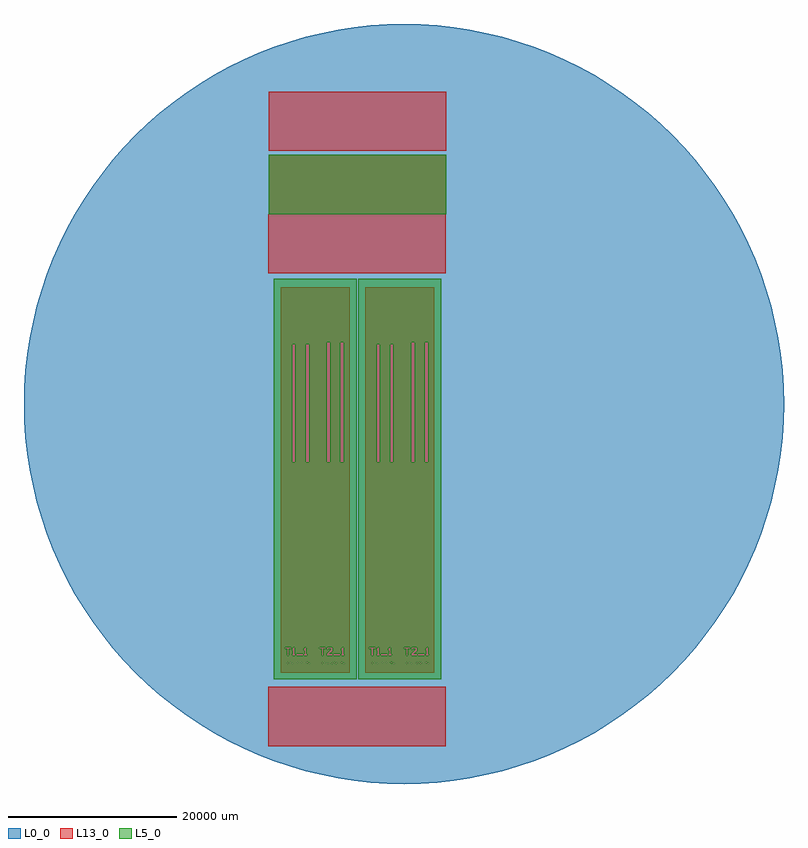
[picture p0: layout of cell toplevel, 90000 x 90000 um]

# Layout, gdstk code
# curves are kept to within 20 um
import gdstk
lib = gdstk.Library(unit=1e-6, precision=1e-09)
def R(c, l, rs):  # rectangles x0, y0, x1, y1
    for r in rs: c.add(gdstk.rectangle(r[:2], r[2:], *l))
def P(c, l, *ps):  # polygons
    for p in ps: c.add(gdstk.Polygon(p, *l))
L0_0 = (0, 0)
L5_0 = (5, 0)
L13_0 = (13, 0)

circle = lib.new_cell('circle')
P(circle, L0_0, [(45000,0),(44957.17,1962.872),(44828.761,3922.008),(44615.019,5873.679),(44316.349,7814.168),(43933.32,9739.783),(43466.662,11646.857),(42917.263,13531.761),(42286.168,15390.906),(41574.579,17220.754),(40783.85,19017.822),(39915.487,20778.688),(38971.143,22500),(37952.615,24178.482),(36861.842,25810.94),(35700.9,27394.264),(34472,28925.442),(33177.48,30401.559),(31819.805,31819.805),(30401.559,33177.48),(28925.442,34472),(27394.264,35700.9),(25810.94,36861.842),(24178.482,37952.615),(22500,38971.143),(20778.688,39915.487),(19017.822,40783.85),(17220.754,41574.579),(15390.906,42286.168),(13531.761,42917.263),(11646.857,43466.662),(9739.783,43933.32),(7814.168,44316.349),(5873.679,44615.019),(3922.008,44828.761),(1962.872,44957.17),(0,45000),(-1962.872,44957.17),(-3922.008,44828.761),(-5873.679,44615.019),(-7814.168,44316.349),(-9739.783,43933.32),(-11646.857,43466.662),(-13531.761,42917.263),(-15390.906,42286.168),(-17220.754,41574.579),(-19017.822,40783.85),(-20778.688,39915.487),(-22500,38971.143),(-24178.482,37952.615),(-25810.94,36861.842),(-27394.264,35700.9),(-28925.442,34472),(-30401.559,33177.48),(-31819.805,31819.805),(-33177.48,30401.559),(-34472,28925.442),(-35700.9,27394.264),(-36861.842,25810.94),(-37952.615,24178.482),(-38971.143,22500),(-39915.487,20778.688),(-40783.85,19017.822),(-41574.579,17220.754),(-42286.168,15390.906),(-42917.263,13531.761),(-43466.662,11646.857),(-43933.32,9739.783),(-44316.349,7814.168),(-44615.019,5873.679),(-44828.761,3922.008),(-44957.17,1962.872),(-45000,0),(-44957.17,-1962.872),(-44828.761,-3922.008),(-44615.019,-5873.679),(-44316.349,-7814.168),(-43933.32,-9739.783),(-43466.662,-11646.857),(-42917.263,-13531.761),(-42286.168,-15390.906),(-41574.579,-17220.754),(-40783.85,-19017.822),(-39915.487,-20778.688),(-38971.143,-22500),(-37952.615,-24178.482),(-36861.842,-25810.94),(-35700.9,-27394.264),(-34472,-28925.442),(-33177.48,-30401.559),(-31819.805,-31819.805),(-30401.559,-33177.48),(-28925.442,-34472),(-27394.264,-35700.9),(-25810.94,-36861.842),(-24178.482,-37952.615),(-22500,-38971.143),(-20778.688,-39915.487),(-19017.822,-40783.85),(-17220.754,-41574.579),(-15390.906,-42286.168),(-13531.761,-42917.263),(-11646.857,-43466.662),(-9739.783,-43933.32),(-7814.168,-44316.349),(-5873.679,-44615.019),(-3922.008,-44828.761),(-1962.872,-44957.17),(0,-45000),(1962.872,-44957.17),(3922.008,-44828.761),(5873.679,-44615.019),(7814.168,-44316.349),(9739.783,-43933.32),(11646.857,-43466.662),(13531.761,-42917.263),(15390.906,-42286.168),(17220.754,-41574.579),(19017.822,-40783.85),(20778.688,-39915.487),(22500,-38971.143),(24178.482,-37952.615),(25810.94,-36861.842),(27394.264,-35700.9),(28925.442,-34472),(30401.559,-33177.48),(31819.805,-31819.805),(33177.48,-30401.559),(34472,-28925.442),(35700.9,-27394.264),(36861.842,-25810.94),(37952.615,-24178.482),(38971.143,-22500),(39915.487,-20778.688),(40783.85,-19017.822),(41574.579,-17220.754),(42286.168,-15390.906),(42917.263,-13531.761),(43466.662,-11646.857),(43933.32,-9739.783),(44316.349,-7814.168),(44615.019,-5873.679),(44828.761,-3922.008),(44957.17,-1962.872)])

extract = lib.new_cell('extract')
P(extract, L5_0, [(-5436.512,-32592.964),(-5436.512,-30590),(-3700,-30590),(-3730,-30695),(-3760,-30590),(-3820,-30590),(-3760,-30800),(-3700,-30800),(-3640,-30590),(-5436.512,-30590),(-5436.512,-30500),(-3580,-30500),(-3610,-30590),(-3550,-30590),(-3550,-30560),(-3460,-30560),(-3460,-30590),(-3610,-30740),(-3610,-30800),(-3400,-30800),(-3400,-30740),(-3520,-30740),(-3400,-30620),(-3400,-30530),(-3430,-30500),(-3160,-30500),(-3220,-30560),(-3220,-30740),(-3160,-30800),(-3130,-30740),(-3160,-30710),(-3160,-30590),(-3106,-30560),(-3091,-30500),(-3055,-30500),(-3040,-30710),(-3094,-30740),(-3109,-30800),(-3040,-30800),(-2980,-30740),(-2980,-30560),(-3040,-30500),(-2830,-30500),(-2830,-30560),(-2800,-30560),(-2800,-30620),(-2890,-30620),(-2860,-30500),(-2950,-30530),(-2950,-30620),(-2920,-30650),(-2950,-30680),(-2950,-30770),(-2920,-30800),(-2860,-30800),(-2890,-30680),(-2800,-30680),(-2830,-30800),(-2740,-30770),(-2740,-30680),(-2770,-30650),(-2740,-30620),(-2740,-30530),(-2770,-30500),(-2680,-30500),(-2710,-30590),(-2560,-30560),(-2710,-30740),(-2710,-30800),(-2500,-30800),(-2500,-30740),(-2620,-30740),(-2500,-30620),(-2500,-30530),(-2530,-30500),(-2470,-30500),(-2470,-30560),(-2332,-30560),(-2380,-30800),(-2320,-30800),(-2260,-30500),(-2200,-30500),(-2230,-30590),(-2080,-30560),(-2230,-30740),(-2230,-30800),(-2020,-30800),(-2020,-30740),(-2140,-30740),(-2020,-30620),(-2020,-30530),(-2050,-30500),(-1990,-30500),(-1990,-30650),(-1960,-30680),(-1840,-30680),(-1840,-30740),(-1990,-30710),(-1960,-30800),(-1810,-30800),(-1780,-30770),(-1780,-30650),(-1810,-30620),(-1930,-30620),(-1930,-30560),(-1780,-30560),(-1780,-30500),(-1420,-30500),(-1480,-30590),(-1540,-30500),(-1600,-30500),(-1600,-30800),(-1540,-30800),(-1540,-30620),(-1480,-30710),(-1420,-30620),(-1420,-30800),(-1360,-30800),(-1360,-30500),(-1270,-30500),(-1330,-30560),(-1330,-30740),(-1270,-30800),(-1180,-30800),(-1120,-30740),(-1120,-30680),(-1180,-30680),(-1210,-30740),(-1270,-30710),(-1270,-30590),(-1240,-30560),(-1210,-30560),(-1180,-30620),(-1120,-30620),(-1120,-30590),(400,-30590),(370,-30695),(340,-30590),(280,-30590),(340,-30800),(400,-30800),(460,-30590),(-1120,-30590),(-1180,-30500),(520,-30500),(490,-30590),(550,-30590),(550,-30560),(640,-30560),(640,-30590),(490,-30740),(490,-30800),(700,-30800),(700,-30740),(580,-30740),(700,-30620),(700,-30530),(670,-30500),(940,-30500),(880,-30560),(880,-30740),(940,-30800),(970,-30740),(940,-30710),(940,-30590),(994,-30560),(1009,-30500),(1045,-30500),(1060,-30710),(1006,-30740),(991,-30800),(1060,-30800),(1120,-30740),(1120,-30560),(1060,-30500),(1270,-30500),(1270,-30560),(1300,-30560),(1300,-30620),(1210,-30620),(1240,-30500),(1150,-30530),(1150,-30620),(1180,-30650),(1150,-30680),(1150,-30770),(1180,-30800),(1240,-30800),(1210,-30680),(1300,-30680),(1270,-30800),(1360,-30770),(1360,-30680),(1330,-30650),(1360,-30620),(1360,-30530),(1330,-30500),(1420,-30500),(1390,-30590),(1540,-30560),(1390,-30740),(1390,-30800),(1600,-30800),(1600,-30740),(1480,-30740),(1600,-30620),(1600,-30530),(1570,-30500),(1630,-30500),(1630,-30560),(1768,-30560),(1720,-30800),(1780,-30800),(1840,-30500),(1900,-30500),(1870,-30590),(2020,-30560),(1870,-30740),(1870,-30800),(2080,-30800),(2080,-30740),(1960,-30740),(2080,-30620),(2080,-30530),(2050,-30500),(2110,-30500),(2110,-30650),(2140,-30680),(2260,-30680),(2260,-30740),(2110,-30710),(2140,-30800),(2290,-30800),(2320,-30770),(2320,-30650),(2290,-30620),(2170,-30620),(2170,-30560),(2320,-30560),(2320,-30500),(2680,-30500),(2620,-30590),(2560,-30500),(2500,-30500),(2500,-30800),(2560,-30800),(2560,-30620),(2620,-30710),(2680,-30620),(2680,-30800),(2740,-30800),(2740,-30500),(2830,-30500),(2770,-30560),(2770,-30740),(2830,-30800),(2920,-30800),(2980,-30740),(2980,-30680),(2920,-30680),(2890,-30740),(2830,-30710),(2830,-30590),(2860,-30560),(2890,-30560),(2920,-30620),(2980,-30620),(2980,-30560),(2920,-30500),(-5436.512,-30500),(-5436.512,-28800),(-4150,-28800),(-4150,-29000),(-3850,-29000),(-3850,-29800),(-3650,-29800),(-3650,-29000),(-3350,-29000),(-3350,-28800),(-3050,-28800),(-3250,-29000),(-3250,-29200),(-3150,-29200),(-3150,-29600),(-3250,-29600),(-3250,-29800),(-2850,-29800),(-2850,-29600),(-2750,-29600),(-2750,-29800),(-1950,-29800),(-1950,-29600),(-2950,-29600),(-2950,-28800),(-1650,-28800),(-1850,-29000),(-1850,-29200),(-1750,-29200),(-1750,-29600),(-1850,-29600),(-1850,-29800),(-1450,-29800),(-1450,-29600),(-1550,-29600),(-1550,-28800),(-50,-28800),(-50,-29000),(250,-29000),(250,-29800),(450,-29800),(450,-29000),(750,-29000),(750,-28800),(950,-28800),(850,-28900),(850,-29100),(1050,-29100),(1050,-29000),(1350,-29000),(1350,-29100),(850,-29600),(850,-29800),(1550,-29800),(1550,-29600),(1650,-29600),(1650,-29800),(2450,-29800),(2450,-29600),(1150,-29600),(1550,-29200),(1550,-28900),(1450,-28800),(2750,-28800),(2550,-29000),(2550,-29200),(2650,-29200),(2650,-29600),(2550,-29600),(2550,-29800),(2950,-29800),(2950,-29600),(2850,-29600),(2850,-28800),(-5436.512,-28800),(-5436.512,7100),(-3270,7100),(-3270,-9400),(-3260,7100),(-3250,-6900),(-2850,-6900),(-2850,7100),(-1650,7100),(-1650,-6900),(-1250,-6900),(-1250,7100),(-5436.512,7100),(-5436.512,7309),(830,7309),(830,-9400),(840,7309),(850,-6900),(1250,-6900),(1250,7309),(2450,7309),(2450,-6900),(2850,-6900),(2850,7309),(-5436.512,7309),(-5436.512,14827.607),(4406.967,14827.607),(4406.967,-32592.964)])

extract002 = lib.new_cell('extract002')
R(extract002, L13_0, [(-4600,-31850,-500,13850), (-500,-31850,3600,13850)])

extract003 = lib.new_cell('extract003')
P(extract003, L5_0, [(-15436.512,-32592.964),(-15436.512,-30590),(-13700,-30590),(-13730,-30695),(-13760,-30590),(-13820,-30590),(-13760,-30800),(-13700,-30800),(-13640,-30590),(-15436.512,-30590),(-15436.512,-30500),(-13580,-30500),(-13610,-30590),(-13550,-30590),(-13550,-30560),(-13460,-30560),(-13460,-30590),(-13610,-30740),(-13610,-30800),(-13400,-30800),(-13400,-30740),(-13520,-30740),(-13400,-30620),(-13400,-30530),(-13430,-30500),(-13160,-30500),(-13220,-30560),(-13220,-30740),(-13160,-30800),(-13130,-30740),(-13160,-30710),(-13160,-30590),(-13106,-30560),(-13091,-30500),(-13055,-30500),(-13040,-30710),(-13094,-30740),(-13109,-30800),(-13040,-30800),(-12980,-30740),(-12980,-30560),(-13040,-30500),(-12830,-30500),(-12830,-30560),(-12800,-30560),(-12800,-30620),(-12890,-30620),(-12860,-30500),(-12950,-30530),(-12950,-30620),(-12920,-30650),(-12950,-30680),(-12950,-30770),(-12920,-30800),(-12860,-30800),(-12890,-30680),(-12800,-30680),(-12830,-30800),(-12740,-30770),(-12740,-30680),(-12770,-30650),(-12740,-30620),(-12740,-30530),(-12770,-30500),(-12680,-30500),(-12710,-30590),(-12560,-30560),(-12710,-30740),(-12710,-30800),(-12500,-30800),(-12500,-30740),(-12620,-30740),(-12500,-30620),(-12500,-30530),(-12530,-30500),(-12470,-30500),(-12470,-30560),(-12332,-30560),(-12380,-30800),(-12320,-30800),(-12260,-30500),(-12200,-30500),(-12230,-30590),(-12080,-30560),(-12230,-30740),(-12230,-30800),(-12020,-30800),(-12020,-30740),(-12140,-30740),(-12020,-30620),(-12020,-30530),(-12050,-30500),(-11990,-30500),(-11990,-30650),(-11960,-30680),(-11840,-30680),(-11840,-30740),(-11990,-30710),(-11960,-30800),(-11810,-30800),(-11780,-30770),(-11780,-30650),(-11810,-30620),(-11930,-30620),(-11930,-30560),(-11780,-30560),(-11780,-30500),(-11420,-30500),(-11480,-30590),(-11540,-30500),(-11600,-30500),(-11600,-30800),(-11540,-30800),(-11540,-30620),(-11480,-30710),(-11420,-30620),(-11420,-30800),(-11360,-30800),(-11360,-30500),(-11270,-30500),(-11330,-30560),(-11330,-30740),(-11270,-30800),(-11180,-30800),(-11120,-30740),(-11120,-30680),(-11180,-30680),(-11210,-30740),(-11270,-30710),(-11270,-30590),(-11240,-30560),(-11210,-30560),(-11180,-30620),(-11120,-30620),(-11120,-30590),(-9600,-30590),(-9630,-30695),(-9660,-30590),(-9720,-30590),(-9660,-30800),(-9600,-30800),(-9540,-30590),(-11120,-30590),(-11180,-30500),(-9480,-30500),(-9510,-30590),(-9450,-30590),(-9450,-30560),(-9360,-30560),(-9360,-30590),(-9510,-30740),(-9510,-30800),(-9300,-30800),(-9300,-30740),(-9420,-30740),(-9300,-30620),(-9300,-30530),(-9330,-30500),(-9060,-30500),(-9120,-30560),(-9120,-30740),(-9060,-30800),(-9030,-30740),(-9060,-30710),(-9060,-30590),(-9006,-30560),(-8991,-30500),(-8955,-30500),(-8940,-30710),(-8994,-30740),(-9009,-30800),(-8940,-30800),(-8880,-30740),(-8880,-30560),(-8940,-30500),(-8730,-30500),(-8730,-30560),(-8700,-30560),(-8700,-30620),(-8790,-30620),(-8760,-30500),(-8850,-30530),(-8850,-30620),(-8820,-30650),(-8850,-30680),(-8850,-30770),(-8820,-30800),(-8760,-30800),(-8790,-30680),(-8700,-30680),(-8730,-30800),(-8640,-30770),(-8640,-30680),(-8670,-30650),(-8640,-30620),(-8640,-30530),(-8670,-30500),(-8580,-30500),(-8610,-30590),(-8460,-30560),(-8610,-30740),(-8610,-30800),(-8400,-30800),(-8400,-30740),(-8520,-30740),(-8400,-30620),(-8400,-30530),(-8430,-30500),(-8370,-30500),(-8370,-30560),(-8232,-30560),(-8280,-30800),(-8220,-30800),(-8160,-30500),(-8100,-30500),(-8130,-30590),(-7980,-30560),(-8130,-30740),(-8130,-30800),(-7920,-30800),(-7920,-30740),(-8040,-30740),(-7920,-30620),(-7920,-30530),(-7950,-30500),(-7890,-30500),(-7890,-30650),(-7860,-30680),(-7740,-30680),(-7740,-30740),(-7890,-30710),(-7860,-30800),(-7710,-30800),(-7680,-30770),(-7680,-30650),(-7710,-30620),(-7830,-30620),(-7830,-30560),(-7680,-30560),(-7680,-30500),(-7320,-30500),(-7380,-30590),(-7440,-30500),(-7500,-30500),(-7500,-30800),(-7440,-30800),(-7440,-30620),(-7380,-30710),(-7320,-30620),(-7320,-30800),(-7260,-30800),(-7260,-30500),(-7170,-30500),(-7230,-30560),(-7230,-30740),(-7170,-30800),(-7080,-30800),(-7020,-30740),(-7020,-30680),(-7080,-30680),(-7110,-30740),(-7170,-30710),(-7170,-30590),(-7140,-30560),(-7110,-30560),(-7080,-30620),(-7020,-30620),(-7020,-30560),(-7080,-30500),(-15436.512,-30500),(-15436.512,-28800),(-14150,-28800),(-14150,-29000),(-13850,-29000),(-13850,-29800),(-13650,-29800),(-13650,-29000),(-13350,-29000),(-13350,-28800),(-13050,-28800),(-13250,-29000),(-13250,-29200),(-13150,-29200),(-13150,-29600),(-13250,-29600),(-13250,-29800),(-12850,-29800),(-12850,-29600),(-12750,-29600),(-12750,-29800),(-11950,-29800),(-11950,-29600),(-12950,-29600),(-12950,-28800),(-11650,-28800),(-11850,-29000),(-11850,-29200),(-11750,-29200),(-11750,-29600),(-11850,-29600),(-11850,-29800),(-11450,-29800),(-11450,-29600),(-11550,-29600),(-11550,-28800),(-10050,-28800),(-10050,-29000),(-9750,-29000),(-9750,-29800),(-9550,-29800),(-9550,-29000),(-9250,-29000),(-9250,-28800),(-9050,-28800),(-9150,-28900),(-9150,-29100),(-8950,-29100),(-8950,-29000),(-8650,-29000),(-8650,-29100),(-9150,-29600),(-9150,-29800),(-8450,-29800),(-8450,-29600),(-8350,-29600),(-8350,-29800),(-7550,-29800),(-7550,-29600),(-8850,-29600),(-8450,-29200),(-8450,-28900),(-8550,-28800),(-7250,-28800),(-7450,-29000),(-7450,-29200),(-7350,-29200),(-7350,-29600),(-7450,-29600),(-7450,-29800),(-7050,-29800),(-7050,-29600),(-7150,-29600),(-7150,-28800),(-15436.512,-28800),(-15436.512,7100),(-13270,7100),(-13270,-9400),(-13260,7100),(-13250,-6900),(-12850,-6900),(-12850,7100),(-11650,7100),(-11650,-6900),(-11250,-6900),(-11250,7100),(-15436.512,7100),(-15436.512,7309),(-9170,7309),(-9170,-9400),(-9160,7309),(-9150,-6900),(-8750,-6900),(-8750,7309),(-7550,7309),(-7550,-6900),(-7150,-6900),(-7150,7309),(-15436.512,7309),(-15436.512,14827.607),(-5593.033,14827.607),(-5593.033,-32592.964)])

extract004 = lib.new_cell('extract004')
R(extract004, L13_0, [(-14600,-31850,-10500,13850), (-10500,-31850,-6400,13850)])

rectangle = lib.new_cell('rectangle')
R(rectangle, L13_0, [(-16050,15500,-9050,22500)])

rectangle005 = lib.new_cell('rectangle005')
R(rectangle005, L13_0, [(-9050,15500,-2050,22500)])

rectangle006 = lib.new_cell('rectangle006')
R(rectangle006, L13_0, [(-16050,15500,-9050,22500)])

rectangle007 = lib.new_cell('rectangle007')
R(rectangle007, L13_0, [(-16050,15500,-9050,22500)])

rectangle008 = lib.new_cell('rectangle008')
R(rectangle008, L13_0, [(-9050,15500,-2050,22500)])

rectangle009 = lib.new_cell('rectangle009')
R(rectangle009, L13_0, [(-2050,15500,4950,22500)])

rectangle010 = lib.new_cell('rectangle010')
R(rectangle010, L13_0, [(-16050,-40500,-9050,-33500)])

rectangle011 = lib.new_cell('rectangle011')
R(rectangle011, L13_0, [(-9050,-40500,-2050,-33500)])

rectangle012 = lib.new_cell('rectangle012')
R(rectangle012, L13_0, [(-2050,-40500,4950,-33500)])

rectangle013 = lib.new_cell('rectangle013')
R(rectangle013, L13_0, [(-16000,30000,-9000,37000)])

rectangle014 = lib.new_cell('rectangle014')
R(rectangle014, L13_0, [(-9000,30000,-2000,37000)])

rectangle015 = lib.new_cell('rectangle015')
R(rectangle015, L13_0, [(-2000,30000,5000,37000)])

rectangle016 = lib.new_cell('rectangle016')
R(rectangle016, L5_0, [(-16000,22500,-9000,29500)])

rectangle017 = lib.new_cell('rectangle017')
R(rectangle017, L13_0, [(-16000,22500,-9000,29500)])

rectangle018 = lib.new_cell('rectangle018')
R(rectangle018, L5_0, [(-9000,22500,-2000,29500)])

rectangle019 = lib.new_cell('rectangle019')
R(rectangle019, L13_0, [(-9000,22500,-2000,29500)])

rectangle020 = lib.new_cell('rectangle020')
R(rectangle020, L5_0, [(-2000,22500,5000,29500)])

rectangle021 = lib.new_cell('rectangle021')
R(rectangle021, L13_0, [(-2000,22500,5000,29500)])

toplevel = lib.new_cell('toplevel')
toplevel.add(gdstk.Reference(circle, (0,0)))
toplevel.add(gdstk.Reference(extract, (0,0)))
toplevel.add(gdstk.Reference(extract002, (0,0)))
toplevel.add(gdstk.Reference(extract003, (0,0)))
toplevel.add(gdstk.Reference(extract004, (0,0)))
toplevel.add(gdstk.Reference(rectangle, (0,0)))
toplevel.add(gdstk.Reference(rectangle005, (0,0)))
toplevel.add(gdstk.Reference(rectangle006, (0,0)))
toplevel.add(gdstk.Reference(rectangle007, (0,0)))
toplevel.add(gdstk.Reference(rectangle008, (0,0)))
toplevel.add(gdstk.Reference(rectangle009, (0,0)))
toplevel.add(gdstk.Reference(rectangle010, (0,0)))
toplevel.add(gdstk.Reference(rectangle011, (0,0)))
toplevel.add(gdstk.Reference(rectangle012, (0,0)))
toplevel.add(gdstk.Reference(rectangle013, (0,0)))
toplevel.add(gdstk.Reference(rectangle014, (0,0)))
toplevel.add(gdstk.Reference(rectangle015, (0,0)))
toplevel.add(gdstk.Reference(rectangle016, (0,0)))
toplevel.add(gdstk.Reference(rectangle017, (0,0)))
toplevel.add(gdstk.Reference(rectangle018, (0,0)))
toplevel.add(gdstk.Reference(rectangle019, (0,0)))
toplevel.add(gdstk.Reference(rectangle020, (0,0)))
toplevel.add(gdstk.Reference(rectangle021, (0,0)))

lib.write_gds('toplevel.gds')
